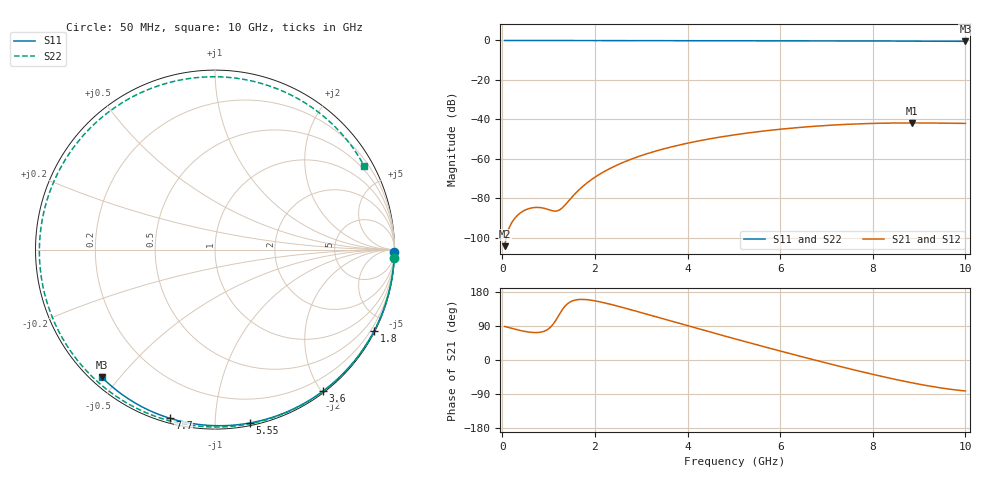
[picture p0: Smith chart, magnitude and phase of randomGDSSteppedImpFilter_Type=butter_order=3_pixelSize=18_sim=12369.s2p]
! freq	dB(S11)	phase(S11)	dB(S12)	phase(S12)
!  dB(S21)	phase(S21)	dB(S22)	phase(S22)
!S-par simulation data
#  GHz  S  DB  R 50
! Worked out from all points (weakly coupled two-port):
!   200 points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, 50 MHz to 10 GHz, reference 50 ohm
!   highest |S21| = -41.77 dB at 8.85 GHz (marker M1); lowest = -104.2 dB at 50 MHz (marker M2)
!   lowest |S11| = -0.4 dB at 10 GHz (marker M3), VSWR 39.06, Z = 1.54 - j22.5 ohm
!   |S11| at or under -10 dB: nowhere
!   |S22| runs from -0.4 to 0.0 dB; largest |S21 - S12| = 0
!   S11 on the Smith chart (normalised r, x): 50 MHz: open; 1.8 GHz: 0.04, -4.17; 3.6 GHz: 0.02, -2.02; 5.55 GHz: 0.02, -1.22; 7.7 GHz: 0.02, -0.77; 10 GHz: 0.03, -0.45
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0.05  -0.00 -0.8  -104.22 88.5  -104.22 88.5  -0.00 -2.6
0.4  -0.01 -6.1  -87.21 77.6  -87.21 77.6  -0.03 -20.6
0.8  -0.02 -12.1  -84.63 72.9  -84.63 72.9  -0.05 -40.5
1.15  -0.02 -17.3  -86.47 103.7  -86.47 103.7  -0.07 -57.2
1.45  -0.03 -21.8  -80.81 152.1  -80.81 152.1  -0.08 -70.7
1.75  -0.03 -26.2  -73.70 159.8  -73.70 159.8  -0.09 -83.5
1.8  -0.03 -26.9  -72.73 159.5  -72.73 159.5  -0.10 -85.5
2.1  -0.04 -31.3  -67.80 153.7  -67.80 153.7  -0.11 -97.5
2.45  -0.05 -36.4  -63.44 143.4  -63.44 143.4  -0.12 -110.5
2.95  -0.06 -43.6  -58.74 126.7  -58.74 126.7  -0.13 -127.7
3.4  -0.07 -49.9  -55.47 111.2  -55.47 111.2  -0.14 -142.0
3.6  -0.07 -52.7  -54.23 104.3  -54.23 104.3  -0.15 -148.1
4.3  -0.09 -62.3  -50.62 80.2  -50.62 80.2  -0.17 -168.2
5.05  -0.11 -72.2  -47.70 54.9  -47.70 54.9  -0.20 171.5
5.55  -0.13 -78.7  -46.15 38.4  -46.15 38.4  -0.22 158.3
6.1  -0.15 -85.6  -44.75 20.5  -44.75 20.5  -0.25 143.8
6.7  -0.18 -93.1  -43.55 1.4  -43.55 1.4  -0.27 127.8
7.7  -0.24 -105.1  -42.25 -29.2  -42.25 -29.2  -0.31 100.1
8.35  -0.29 -112.7  -41.85 -47.5  -41.85 -47.5  -0.34 81.1
8.85  -0.33 -118.4  -41.77 -60.3  -41.77 -60.3  -0.35 65.9
9.4  -0.38 -124.7  -41.86 -72.3  -41.86 -72.3  -0.38 48.7
10  -0.44 -131.4  -42.02 -81.8  -42.02 -81.8  -0.42 29.4
